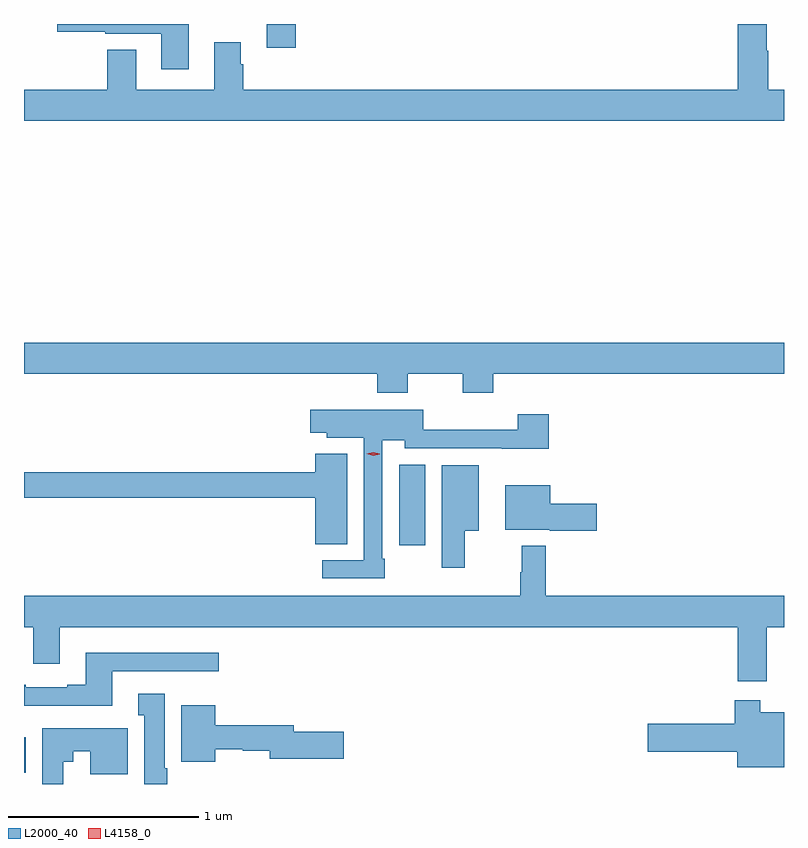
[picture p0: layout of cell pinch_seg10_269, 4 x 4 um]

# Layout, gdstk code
import gdstk
lib = gdstk.Library(unit=1e-6, precision=1e-09)
def R(c, l, rs):  # rectangles x0, y0, x1, y1
    for r in rs: c.add(gdstk.rectangle(r[:2], r[2:], *l))
def P(c, l, *ps):  # polygons
    for p in ps: c.add(gdstk.Polygon(p, *l))
L2000_40 = (2000, 40)
L4158_0 = (4158, 0)

pinch_seg10_269 = lib.new_cell('pinch_seg10_269')
R(pinch_seg10_269, L2000_40, [(502.157,1294.22,502.165,1294.408), (504.131,1295.418,504.268,1295.843), (503.435,1298.037,503.588,1298.162)])
P(pinch_seg10_269, L2000_40, [(506.157,1297.816),(506.073,1297.816),(506.073,1298.021),(506.065,1298.021),(506.065,1298.162),(505.913,1298.162),(505.913,1297.816),(503.312,1297.816),(503.312,1297.949),(503.299,1297.949),(503.299,1298.065),(503.159,1298.065),(503.159,1297.816),(502.747,1297.816),(502.747,1298.027),(502.595,1298.027),(502.595,1297.816),(502.157,1297.816),(502.157,1297.652),(506.157,1297.652)],
  [(503.023,1298.162),(502.332,1298.162),(502.332,1298.122),(502.584,1298.122),(502.584,1298.112),(502.88,1298.112),(502.88,1297.923),(503.023,1297.923)],
  [(504.177,1296.32),(504.466,1296.32),(504.466,1296.221),(504.626,1296.221),(504.626,1296.32),(506.157,1296.32),(506.157,1296.484),(502.157,1296.484),(502.157,1296.32),(504.017,1296.32),(504.017,1296.221),(504.177,1296.221)],
  [(504.055,1295.347),(504.042,1295.347),(504.042,1295.972),(504.162,1295.972),(504.162,1295.928),(504.671,1295.928),(504.671,1295.927),(504.92,1295.927),(504.92,1296.109),(504.755,1296.109),(504.755,1296.026),(504.258,1296.026),(504.258,1296.133),(503.664,1296.133),(503.664,1296.011),(503.751,1296.011),(503.751,1295.984),(503.946,1295.984),(503.946,1295.34),(503.727,1295.34),(503.727,1295.244),(504.055,1295.244)],
  [(503.857,1295.899),(503.69,1295.899),(503.69,1295.804),(502.157,1295.804),(502.157,1295.668),(503.69,1295.668),(503.69,1295.425),(503.857,1295.425)],
  [(504.478,1295.495),(504.55,1295.495),(504.55,1295.839),(504.356,1295.839),(504.356,1295.301),(504.478,1295.301)],
  [(505.171,1295.636),(504.928,1295.636),(504.928,1295.734),(504.689,1295.734),(504.689,1295.501),(504.924,1295.501),(504.924,1295.494),(505.171,1295.494)],
  [(506.065,1294.988),(506.157,1294.988),(506.157,1295.152),(504.904,1295.152),(504.904,1295.416),(504.777,1295.416),(504.777,1295.276),(504.769,1295.276),(504.769,1295.152),(502.157,1295.152),(502.157,1294.988),(502.205,1294.988),(502.205,1294.794),(502.345,1294.794),(502.345,1294.988),(505.913,1294.988),(505.913,1294.704),(506.065,1294.704)],
  [(502.161,1294.575),(502.621,1294.575),(502.621,1294.755),(503.182,1294.755),(503.182,1294.852),(502.481,1294.852),(502.481,1294.684),(502.385,1294.684),(502.385,1294.671),(502.165,1294.671),(502.165,1294.684),(502.157,1294.684),(502.157,1294.574),(502.161,1294.574)],
  [(502.912,1294.246),(502.897,1294.246),(502.897,1294.636),(502.757,1294.636),(502.757,1294.523),(502.79,1294.523),(502.79,1294.162),(502.912,1294.162)],
  [(506.157,1294.54),(506.032,1294.54),(506.032,1294.603),(505.898,1294.603),(505.898,1294.478),(505.44,1294.478),(505.44,1294.331),(505.91,1294.331),(505.91,1294.25),(506.157,1294.25)],
  [(503.164,1294.344),(503.307,1294.344),(503.307,1294.336),(503.45,1294.336),(503.45,1294.294),(503.839,1294.294),(503.839,1294.436),(503.578,1294.436),(503.578,1294.472),(503.164,1294.472),(503.164,1294.576),(502.985,1294.576),(502.985,1294.28),(503.164,1294.28)],
  [(502.363,1294.28),(502.417,1294.28),(502.417,1294.334),(502.505,1294.334),(502.505,1294.214),(502.702,1294.214),(502.702,1294.456),(502.253,1294.456),(502.253,1294.162),(502.363,1294.162)])
P(pinch_seg10_269, L4158_0, [(503.994,1295.889),(503.96,1295.9),(503.959,1295.9),(503.96,1295.9),(503.994,1295.909),(504.029,1295.899),(504.029,1295.898),(504.029,1295.898)])

lib.write_gds('pinch_seg10_269.gds')
